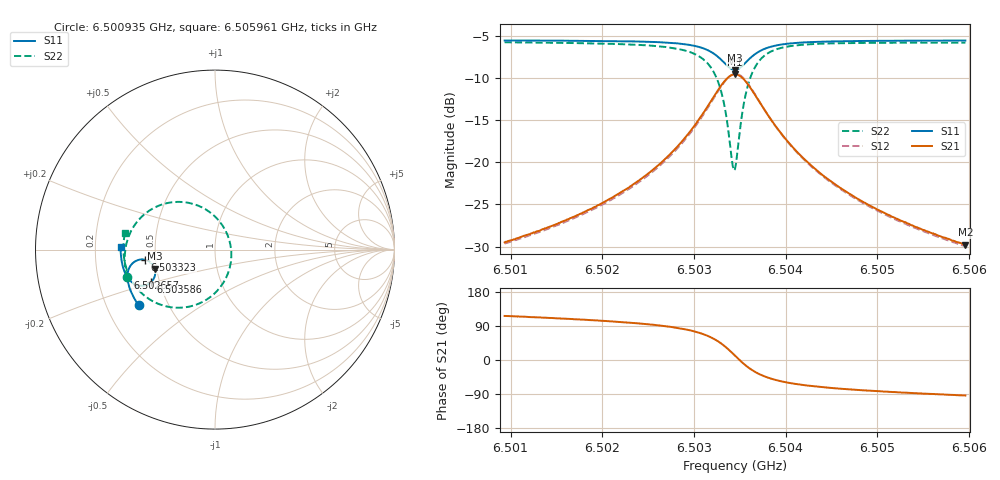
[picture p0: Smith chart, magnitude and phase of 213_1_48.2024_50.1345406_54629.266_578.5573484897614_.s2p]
#  HZ  S  RI  R  50.00
! Rohde & Schwarz Vector Network Analyzer
! Rohde-Schwarz,ZNB20-2Port,1311601062101988,3.16
! Created: UTC 3/20/2024, 11:45:37 AM
! freq[Hz]  re:S11  im:S11  re:S21  im:S21  re:S12  im:S12  re:S22  im:S22
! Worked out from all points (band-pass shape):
!   401 points, 6.500935 GHz to 6.505961 GHz, reference 50 ohm
!   highest |S21| = -9.59 dB at 6.503448 GHz (marker M1); lowest = -29.8 dB at 6.505961 GHz (marker M2)
!   |S21| within 3 dB of the highest: 6.503197 GHz to 6.503699 GHz (502.6 kHz wide, 0.00773 % of centre)
!   lowest |S11| = -9.1 dB at 6.503448 GHz (marker M3), VSWR 2.09, Z = 24.4 - j5.92 ohm
!   |S11| at or under -10 dB: nowhere
!   |S22| runs from -21.0 to -5.8 dB; largest |S21 - S12| = 0.012
!   S11 on the Smith chart (normalised r, x): 6.500935 GHz: 0.34, -0.29; 6.502657 GHz: 0.33, -0.14; 6.503323 GHz: 0.44, -0.06; 6.503586 GHz: 0.45, -0.19; 6.505961 GHz: 0.31, +0.01
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6.5009351e9  -0.4257 -0.31  -0.0148 0.03  -0.0133 0.0302  -0.4896 -0.1554
6.501777e9  -0.462 -0.2477  -0.0143 0.0477  -0.0118 0.0473  -0.5029 -0.0662
6.502267e9  -0.4789 -0.2042  -0.011 0.0686  -0.00804 0.0677  -0.4992 0.004
6.5026189e9  -0.4871 -0.165  -0.00231 0.0967  0.00139 0.0945  -0.4802 0.0752
6.5026566e9  -0.4877 -0.16  -0.000395 0.101  0.00318 0.0986  -0.4765 0.0847
6.502933e9  -0.4836 -0.1171  0.0263 0.1436  0.0302 0.1392  -0.4205 0.1707
6.5031215e9  -0.4621 -0.0788  0.0808 0.186  0.0834 0.1797  -0.3162 0.2434
6.5032346e9  -0.4293 -0.0583  0.1505 0.2034  0.1514 0.1971  -0.1908 0.2656
6.5033225e9  -0.3885 -0.0568  0.2306 0.1869  0.231 0.1817  -0.0525 0.2243
6.5034231e9  -0.3422 -0.0916  0.3149 0.0987  0.3176 0.0936  0.08 0.0518
6.5034482e9  -0.3359 -0.1064  0.325 0.0661  0.3284 0.0601  0.0905 -0.00898
6.5034733e9  -0.3329 -0.1223  0.3285 0.0322  0.3321 0.0251  0.0882 -0.0711
6.5035362e9  -0.3404 -0.1598  0.3097 -0.0463  0.3119 -0.0564  0.0309 -0.2073
6.5035864e9  -0.357 -0.1817  0.2759 -0.0919  0.2754 -0.1032  -0.0461 -0.2781
6.5036367e9  -0.3771 -0.1948  0.2368 -0.1201  0.2337 -0.1313  -0.1283 -0.3141
6.5036995e9  -0.4017 -0.2013  0.1909 -0.1366  0.1854 -0.1462  -0.2184 -0.3237
6.5038629e9  -0.4479 -0.1915  0.1087 -0.1332  0.1017 -0.1381  -0.3661 -0.2761
6.5040388e9  -0.4754 -0.17  0.0641 -0.1127  0.0578 -0.115  -0.4384 -0.2108
6.5042901e9  -0.4962 -0.14  0.034 -0.0882  0.0291 -0.0887  -0.4817 -0.1381
6.5046419e9  -0.511 -0.1032  0.0157 -0.066  0.0124 -0.0657  -0.5035 -0.0674
6.505132e9  -0.5211 -0.0576  0.00498 -0.0483  0.00276 -0.0475  -0.5102 0.00256
6.5059613e9  -0.526 0.0125  -0.00209 -0.0323  -0.00338 -0.0316  -0.5025 0.0902
